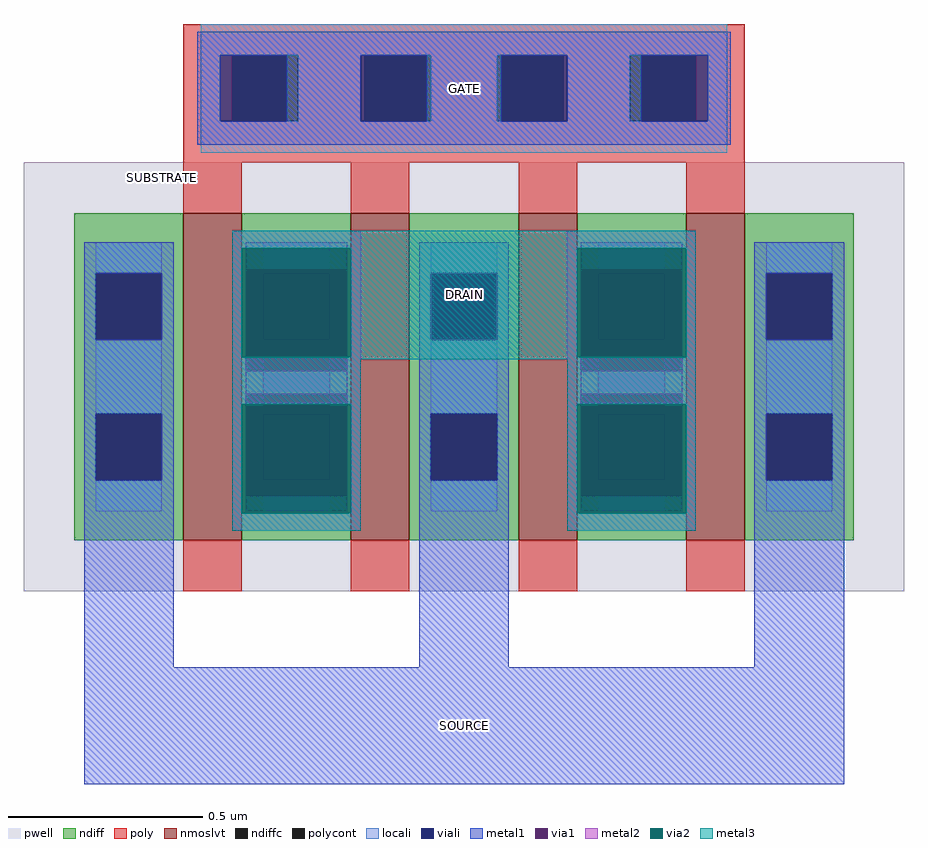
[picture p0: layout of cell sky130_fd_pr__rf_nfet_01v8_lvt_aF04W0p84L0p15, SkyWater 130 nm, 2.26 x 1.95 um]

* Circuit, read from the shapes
.subckt sky130_fd_pr__rf_nfet_01v8_lvt_aF04W0p84L0p15 DRAIN GATE SOURCE SUBSTRATE
XM1 DRAIN GATE SOURCE SUBSTRATE sky130_fd_pr__nfet_01v8_lvt w=0.84 l=0.15 m=4
.ends

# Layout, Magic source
magic
tech sky130A
magscale 1 2
<< pwell >>
rect 10 10 462 230
<< nmoslvt >>
rect 92 36 122 204
rect 178 36 208 204
rect 264 36 294 204
rect 350 36 380 204
<< ndiff >>
rect 36 173 92 204
rect 36 139 47 173
rect 81 139 92 173
rect 36 101 92 139
rect 36 67 47 101
rect 81 67 92 101
rect 36 36 92 67
rect 122 173 178 204
rect 122 139 133 173
rect 167 139 178 173
rect 122 101 178 139
rect 122 67 133 101
rect 167 67 178 101
rect 122 36 178 67
rect 208 173 264 204
rect 208 139 219 173
rect 253 139 264 173
rect 208 101 264 139
rect 208 67 219 101
rect 253 67 264 101
rect 208 36 264 67
rect 294 173 350 204
rect 294 139 305 173
rect 339 139 350 173
rect 294 101 350 139
rect 294 67 305 101
rect 339 67 350 101
rect 294 36 350 67
rect 380 173 436 204
rect 380 139 391 173
rect 425 139 436 173
rect 380 101 436 139
rect 380 67 391 101
rect 425 67 436 101
rect 380 36 436 67
<< ndiffc >>
rect 47 139 81 173
rect 47 67 81 101
rect 133 139 167 173
rect 133 67 167 101
rect 219 139 253 173
rect 219 67 253 101
rect 305 139 339 173
rect 305 67 339 101
rect 391 139 425 173
rect 391 67 425 101
<< poly >>
rect 92 285 380 301
rect 92 251 117 285
rect 151 251 185 285
rect 219 251 253 285
rect 287 251 321 285
rect 355 251 380 285
rect 92 230 380 251
rect 92 204 122 230
rect 178 204 208 230
rect 264 204 294 230
rect 350 204 380 230
rect 92 10 122 36
rect 178 10 208 36
rect 264 10 294 36
rect 350 10 380 36
<< polycont >>
rect 117 251 151 285
rect 185 251 219 285
rect 253 251 287 285
rect 321 251 355 285
<< locali >>
rect 101 285 371 301
rect 101 251 111 285
rect 151 251 183 285
rect 219 251 253 285
rect 289 251 321 285
rect 361 251 371 285
rect 101 235 371 251
rect 47 173 81 189
rect 47 101 81 139
rect 47 51 81 67
rect 133 173 167 189
rect 133 101 167 139
rect 133 51 167 67
rect 219 173 253 189
rect 219 101 253 139
rect 219 51 253 67
rect 305 173 339 189
rect 305 101 339 139
rect 305 51 339 67
rect 391 173 425 189
rect 391 101 425 139
rect 391 51 425 67
<< viali >>
rect 111 251 117 285
rect 117 251 145 285
rect 183 251 185 285
rect 185 251 217 285
rect 255 251 287 285
rect 287 251 289 285
rect 327 251 355 285
rect 355 251 361 285
rect 47 139 81 173
rect 47 67 81 101
rect 133 139 167 173
rect 133 67 167 101
rect 219 139 253 173
rect 219 67 253 101
rect 305 139 339 173
rect 305 67 339 101
rect 391 139 425 173
rect 391 67 425 101
<< metal1 >>
rect 99 285 373 297
rect 99 251 111 285
rect 145 251 183 285
rect 217 251 255 285
rect 289 251 327 285
rect 361 251 373 285
rect 99 239 373 251
rect 41 173 87 189
rect 41 139 47 173
rect 81 139 87 173
rect 41 101 87 139
rect 41 67 47 101
rect 81 67 87 101
rect 41 -29 87 67
rect 124 175 176 189
rect 124 111 176 123
rect 124 51 176 59
rect 213 173 259 189
rect 213 139 219 173
rect 253 139 259 173
rect 213 101 259 139
rect 213 67 219 101
rect 253 67 259 101
rect 213 -29 259 67
rect 296 175 348 189
rect 296 111 348 123
rect 296 51 348 59
rect 385 173 431 189
rect 385 139 391 173
rect 425 139 431 173
rect 385 101 431 139
rect 385 67 391 101
rect 425 67 431 101
rect 385 -29 431 67
rect 41 -89 431 -29
<< via1 >>
rect 124 173 176 175
rect 124 139 133 173
rect 133 139 167 173
rect 167 139 176 173
rect 124 123 176 139
rect 124 101 176 111
rect 124 67 133 101
rect 133 67 167 101
rect 167 67 176 101
rect 124 59 176 67
rect 296 173 348 175
rect 296 139 305 173
rect 305 139 339 173
rect 339 139 348 173
rect 296 123 348 139
rect 296 101 348 111
rect 296 67 305 101
rect 305 67 339 101
rect 339 67 348 101
rect 296 59 348 67
<< metal2 >>
rect 117 186 183 195
rect 117 130 122 186
rect 178 130 183 186
rect 117 123 124 130
rect 176 123 183 130
rect 117 111 183 123
rect 117 106 124 111
rect 176 106 183 111
rect 117 50 122 106
rect 178 50 183 106
rect 117 41 183 50
rect 289 186 355 195
rect 289 130 294 186
rect 350 130 355 186
rect 289 123 296 130
rect 348 123 355 130
rect 289 111 355 123
rect 289 106 296 111
rect 348 106 355 111
rect 289 50 294 106
rect 350 50 355 106
rect 289 41 355 50
<< via2 >>
rect 122 175 178 186
rect 122 130 124 175
rect 124 130 176 175
rect 176 130 178 175
rect 122 59 124 106
rect 124 59 176 106
rect 176 59 178 106
rect 122 50 178 59
rect 294 175 350 186
rect 294 130 296 175
rect 296 130 348 175
rect 348 130 350 175
rect 294 59 296 106
rect 296 59 348 106
rect 348 59 350 106
rect 294 50 350 59
<< metal3 >>
rect 117 186 355 195
rect 117 130 122 186
rect 178 130 294 186
rect 350 130 355 186
rect 117 129 355 130
rect 117 106 183 129
rect 117 50 122 106
rect 178 50 183 106
rect 117 41 183 50
rect 289 106 355 129
rect 289 50 294 106
rect 350 50 355 106
rect 289 41 355 50
<< labels >>
flabel metal3 s 117 129 355 195 0 FreeSans 400 0 0 0 DRAIN
port 1 nsew
flabel metal1 s 41 -89 431 -29 0 FreeSans 400 0 0 0 SOURCE
port 3 nsew
flabel metal1 s 99 239 373 297 0 FreeSans 400 0 0 0 GATE
port 2 nsew
flabel pwell s 73 217 90 227 0 FreeSans 200 0 0 0 SUBSTRATE
port 4 nsew
<< properties >>
string GDS_FILE $PDKPATH/libs.ref/sky130_fd_pr/gds/sky130_fd_pr.gds
string GDS_END 5863650
string GDS_START 5856492
string path 8.050 4.725 8.050 1.275 
<< end >>
